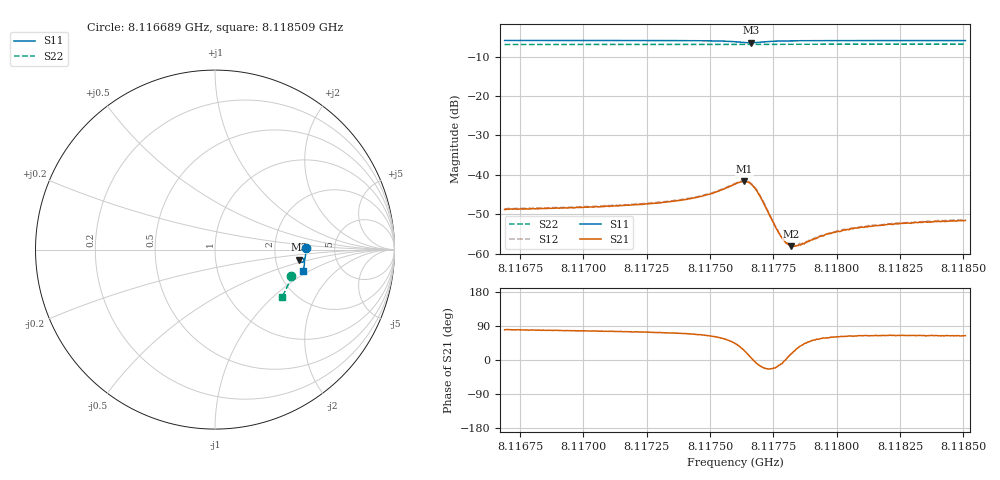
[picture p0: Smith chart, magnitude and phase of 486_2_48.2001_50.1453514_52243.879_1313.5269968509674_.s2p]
#  HZ  S  RI  R  50.00
! Rohde & Schwarz Vector Network Analyzer
! Rohde-Schwarz,ZNB20-2Port,1311601062101988,3.16
! Created: UTC 3/20/2024, 11:57:52 AM
! freq[Hz]  re:S11  im:S11  re:S21  im:S21  re:S12  im:S12  re:S22  im:S22
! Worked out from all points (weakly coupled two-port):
!   401 points, 8.116689 GHz to 8.118509 GHz, reference 50 ohm
!   highest |S21| = -41.65 dB at 8.117635 GHz (marker M1); lowest = -58.1 dB at 8.117822 GHz (marker M2)
!   lowest |S11| = -6.5 dB at 8.117663 GHz (marker M3), VSWR 2.80, Z = 137 - j19.8 ohm
!   |S11| at or under -10 dB: nowhere
!   |S22| runs from -6.9 to -6.8 dB; largest |S21 - S12| = 0.00023
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8.1166892e9  0.5069 0.00762  0.000647 0.00359  0.00066 0.00367  0.4256 -0.1478
8.1169939e9  0.5062 -0.0159  0.000877 0.00376  0.000941 0.00383  0.4189 -0.168
8.1171759e9  0.505 -0.0305  0.0011 0.00399  0.00116 0.00401  0.4144 -0.1797
8.1172987e9  0.5036 -0.0408  0.00131 0.00421  0.00142 0.00435  0.4113 -0.1879
8.1174579e9  0.5 -0.0559  0.00207 0.00486  0.00217 0.00494  0.4068 -0.198
8.117517e9  0.4966 -0.0628  0.00281 0.00526  0.00292 0.00534  0.4049 -0.202
8.1175989e9  0.4836 -0.071  0.00553 0.0053  0.00567 0.00538  0.402 -0.2071
8.1176353e9  0.473 -0.0666  0.00749 0.00351  0.00765 0.00357  0.4005 -0.209
8.1176626e9  0.4702 -0.0562  0.00758 0.000761  0.00777 0.000733  0.3997 -0.2102
8.1176762e9  0.4728 -0.051  0.00685 -0.000464  0.00702 -0.000487  0.3995 -0.2109
8.1176944e9  0.4785 -0.0473  0.00542 -0.00136  0.00554 -0.00146  0.3994 -0.2119
8.1177627e9  0.4943 -0.0531  0.00196 -0.000658  0.00203 -0.000686  0.3978 -0.2164
8.1177854e9  0.4962 -0.0565  0.00155 -0.000251  0.00156 -0.000216  0.3973 -0.2177
8.1178036e9  0.4972 -0.0592  0.00136 0.000103  0.00133 0.000102  0.397 -0.2189
8.1178218e9  0.4981 -0.0616  0.0012 0.000363  0.00125 0.000371  0.3962 -0.2204
8.11784e9  0.4984 -0.0639  0.00111 0.000603  0.00112 0.000607  0.3957 -0.2214
8.1178536e9  0.4986 -0.0655  0.00107 0.000758  0.00112 0.000768  0.3953 -0.2224
8.1179037e9  0.4989 -0.071  0.00093 0.00117  0.000985 0.00117  0.3937 -0.2256
8.1179628e9  0.4988 -0.0769  0.000925 0.00152  0.000946 0.00151  0.3918 -0.2292
8.1180356e9  0.498 -0.0835  0.00092 0.00177  0.000962 0.0018  0.3894 -0.2338
8.1182085e9  0.4957 -0.0978  0.001 0.00216  0.00102 0.00217  0.3832 -0.2445
8.1185087e9  0.4905 -0.1206  0.00115 0.00238  0.00117 0.00241  0.3723 -0.2624
